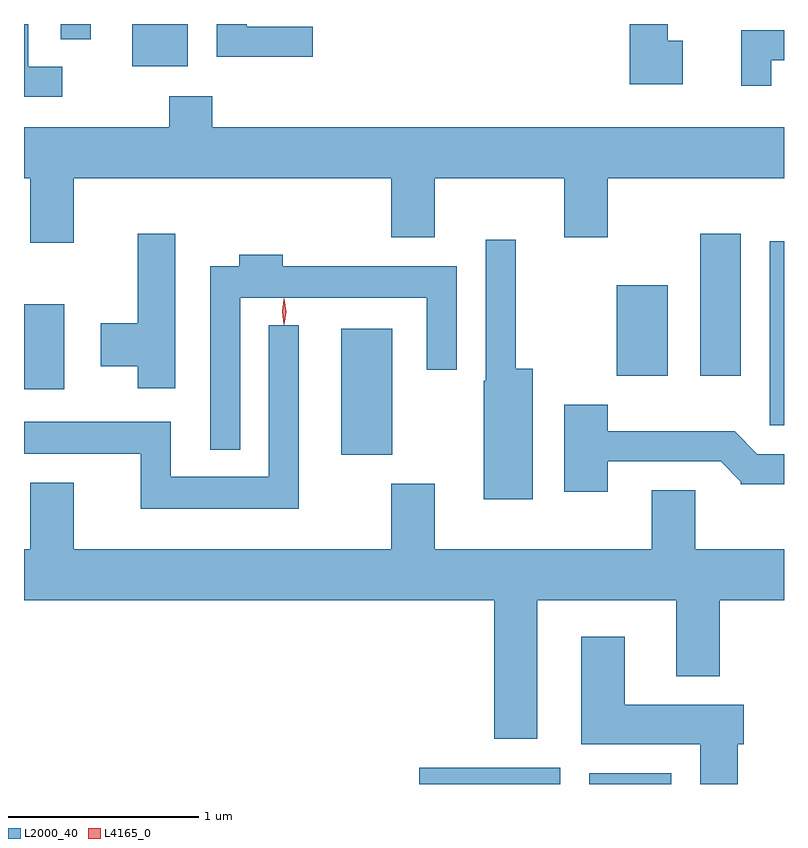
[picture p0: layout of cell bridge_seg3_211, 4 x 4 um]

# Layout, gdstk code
import gdstk
lib = gdstk.Library(unit=1e-6, precision=1e-09)
def R(c, l, rs):  # rectangles x0, y0, x1, y1
    for r in rs: c.add(gdstk.rectangle(r[:2], r[2:], *l))
def P(c, l, *ps):  # polygons
    for p in ps: c.add(gdstk.Polygon(p, *l))
L2000_40 = (2000, 40)
L4165_0 = (4165, 0)

bridge_seg3_211 = lib.new_cell('bridge_seg3_211')
R(bridge_seg3_211, L2000_40, [(930.506,1153.908,931.249,1153.994), (931.401,1153.908,931.834,1153.964), (930.096,1155.641,930.364,1156.304), (932.351,1155.796,932.427,1156.764), (928.427,1155.986,928.639,1156.434), (931.546,1156.056,931.814,1156.534), (931.986,1156.056,932.199,1156.804), (928.996,1157.686,929.289,1157.908), (928.621,1157.828,928.779,1157.908)])
P(bridge_seg3_211, L2000_40, [(928.628,1157.684),(928.449,1157.684),(928.449,1157.908),(928.427,1157.908),(928.427,1157.526),(928.628,1157.526)],
  [(929.948,1157.894),(929.599,1157.894),(929.599,1157.908),(929.441,1157.908),(929.441,1157.736),(929.948,1157.736)],
  [(931.894,1157.819),(931.814,1157.819),(931.814,1157.908),(931.616,1157.908),(931.616,1157.591),(931.894,1157.591)],
  [(932.359,1157.716),(932.427,1157.716),(932.427,1157.874),(932.201,1157.874),(932.201,1157.583),(932.359,1157.583)],
  [(928.689,1157.096),(930.361,1157.096),(930.361,1156.786),(930.589,1156.786),(930.589,1157.096),(931.271,1157.096),(931.271,1156.786),(931.499,1156.786),(931.499,1157.096),(932.427,1157.096),(932.427,1157.364),(929.419,1157.364),(929.419,1157.529),(929.191,1157.529),(929.191,1157.364),(928.427,1157.364),(928.427,1157.096),(928.461,1157.096),(928.461,1156.756),(928.689,1156.756)],
  [(929.224,1156.804),(929.026,1156.804),(929.026,1156.334),(928.831,1156.334),(928.831,1156.106),(929.026,1156.106),(929.026,1155.991),(929.224,1155.991)],
  [(931.104,1156.094),(931.014,1156.094),(931.014,1156.773),(930.856,1156.773),(930.856,1156.03),(930.846,1156.03),(930.846,1155.406),(931.104,1155.406)],
  [(929.564,1156.466),(930.546,1156.466),(930.546,1156.088),(930.704,1156.088),(930.704,1156.634),(929.789,1156.634),(929.789,1156.694),(929.561,1156.694),(929.561,1156.634),(929.406,1156.634),(929.406,1155.668),(929.564,1155.668)],
  [(929.874,1156.323),(929.716,1156.323),(929.716,1155.524),(929.199,1155.524),(929.199,1155.814),(928.427,1155.814),(928.427,1155.646),(929.041,1155.646),(929.041,1155.356),(929.874,1155.356)],
  [(931.499,1155.606),(932.094,1155.606),(932.2,1155.5),(932.2,1155.486),(932.427,1155.486),(932.427,1155.644),(932.287,1155.644),(932.167,1155.764),(931.499,1155.764),(931.499,1155.904),(931.271,1155.904),(931.271,1155.446),(931.499,1155.446)],
  [(931.129,1154.876),(931.861,1154.876),(931.861,1154.476),(932.089,1154.476),(932.089,1154.876),(932.427,1154.876),(932.427,1155.144),(931.959,1155.144),(931.959,1155.454),(931.731,1155.454),(931.731,1155.144),(930.589,1155.144),(930.589,1155.489),(930.361,1155.489),(930.361,1155.144),(928.689,1155.144),(928.689,1155.494),(928.461,1155.494),(928.461,1155.144),(928.427,1155.144),(928.427,1154.876),(930.901,1154.876),(930.901,1154.146),(931.129,1154.146)],
  [(932.184,1154.116),(932.214,1154.116),(932.214,1154.324),(931.589,1154.324),(931.589,1154.684),(931.361,1154.684),(931.361,1154.116),(931.986,1154.116),(931.986,1153.908),(932.184,1153.908)])
P(bridge_seg3_211, L4165_0, [(929.798,1156.323),(929.797,1156.324),(929.788,1156.393),(929.797,1156.462),(929.798,1156.463),(929.798,1156.462),(929.808,1156.393),(929.798,1156.324)],
  [(929.795,1156.327),(929.794,1156.328),(929.785,1156.394),(929.794,1156.46),(929.795,1156.461),(929.796,1156.46),(929.805,1156.394),(929.796,1156.328)])

lib.write_gds('bridge_seg3_211.gds')
